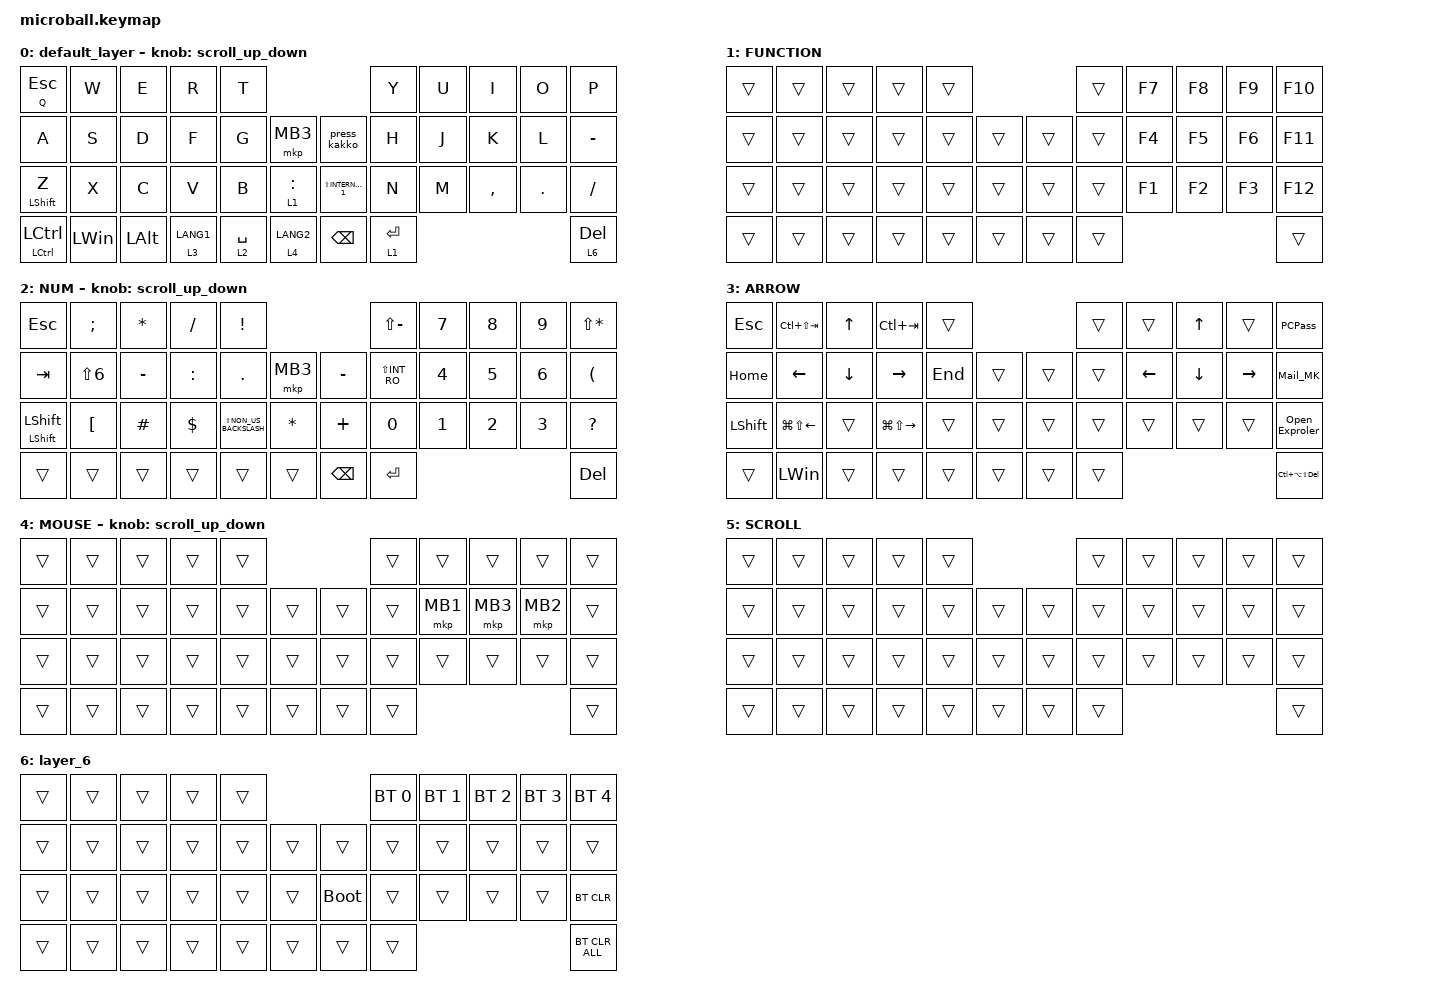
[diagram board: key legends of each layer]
#include <behaviors.dtsi>
#include <dt-bindings/zmk/bt.h>
#include <dt-bindings/zmk/keys.h>
#include <dt-bindings/zmk/pointing.h>

#define ZMK_POINTING_DEFAULT_SCRL_VAL 100
#define MOUSE 4
#define SCROLL 5
#define NUM 6

&mt {
    flavor = "balanced";
    quick-tap-ms = <0>;
};

/ {
    combos {
        compatible = "zmk,combos";

        tab {
            bindings = <&kp TAB>;
            key-positions = <11 12>;
        };

        shift_tab {
            bindings = <&kp LANGUAGE_1>;
            key-positions = <12 13>;
        };

        muhennkann {
            bindings = <&to_layer_0 LANGUAGE_2>;
            key-positions = <25 24>;
        };

        double_quotation {
            bindings = <&kp LANGUAGE_1>;
            key-positions = <14 13>;
        };

        eq {
            bindings = <&kp EQUAL>;
            key-positions = <24 25>;
        };

        MOUSE_MODE {
            bindings = <&to 4>;
            key-positions = <19 18>;
        };

        MOUSE_MODE2 {
            bindings = <&to 0>;
            key-positions = <20 19>;
        };

        lang2 {
            bindings = <&kp LANGUAGE_2>;
            key-positions = <26 25>;
        };
    };

    macros {
        to_layer_0: to_layer_0 {
            compatible = "zmk,behavior-macro-one-param";
            #binding-cells = <1>;
            bindings = <&to 0 &macro_param_1to1 &kp MACRO_PLACEHOLDER>;
            label = "TO_LAYER_0";
        };

        press_kakko: press_kakko {
            compatible = "zmk,behavior-macro";
            #binding-cells = <0>;
            bindings = <&kp LS(ASTRK) &kp LEFT_PARENTHESIS>;
            label = "PRESS_KAKKO";
        };

        PCPass: PCPass {
            compatible = "zmk,behavior-macro";
            #binding-cells = <0>;
            bindings = <&kp HASH &kp DOLLAR &kp LS(P) &kp R &kp O &kp F &kp E &kp S &kp S &kp O &kp R &kp N0 &kp N8 &kp N2 &kp N2>;
            label = "PCPASS";
        };

        Mail_MK: Mail_MK {
            compatible = "zmk,behavior-macro";
            #binding-cells = <0>;
            bindings = <&none &kp M &kp I &kp S &kp A &kp W &kp A &kp DOT &kp K &kp O &kp LEFT_BRACKET &kp J &kp C &kp I &kp T &kp Y &kp DOT &kp M &kp A &kp E &kp D &kp A &kp DOT &kp C &kp O &kp DOT &kp J &kp P>;
            label = "MAIL_MK";
        };

        Open_Exproler: Open_Exproler {
            compatible = "zmk,behavior-macro";
            #binding-cells = <0>;
            bindings = <&kp LEFT_WIN &kp E>;
            label = "OPEN_EXPROLER";
        };

        Ctrl_Alt_Del: Ctrl_Alt_Del {
            compatible = "zmk,behavior-macro";
            #binding-cells = <0>;
            bindings = <&none>, <&macro_press>;

            label = "CTRL_ALT_DEL";
        };
    };

    behaviors {
        scroll_up_down: behavior_sensor_rotate_mouse_wheel_up_down {
            compatible = "zmk,behavior-sensor-rotate";
            #sensor-binding-cells = <0>;
            bindings = <&msc SCRL_UP>, <&msc SCRL_DOWN>;

            // 追加: スクロールのタップ時間を設定 (20ms)

            tap-ms = <20>;
        };
    };

    keymap {
        compatible = "zmk,keymap";

        default_layer {
            bindings = <
&mt Q ESCAPE      &kp W         &kp E         &kp R        &kp T                                                  &kp Y        &kp U  &kp I      &kp O    &kp P
&kp A             &kp S         &kp D         &kp F        &kp G        &mkp MB3         &press_kakko             &kp H        &kp J  &kp K      &kp L    &kp MINUS
&mt LEFT_SHIFT Z  &kp X         &kp C         &kp V        &kp B        &lt 1 COLON      &kp LS(INTERNATIONAL_1)  &kp N        &kp M  &kp COMMA  &kp DOT  &kp SLASH
&mt LCTRL LCTRL   &kp LEFT_WIN  &kp LEFT_ALT  &lt 3 LANG1  &lt 2 SPACE  &lt 4 LANG2      &kp BACKSPACE            &lt 1 ENTER                             &lt 6 DELETE
            >;

            sensor-bindings = <&scroll_up_down>;
        };

        FUNCTION {
            bindings = <
&trans  &trans  &trans  &trans  &trans                      &trans  &kp F7  &kp F8  &kp F9  &kp F10
&trans  &trans  &trans  &trans  &trans  &trans      &trans  &trans  &kp F4  &kp F5  &kp F6  &kp F11
&trans  &trans  &trans  &trans  &trans  &trans      &trans  &trans  &kp F1  &kp F2  &kp F3  &kp F12
&trans  &trans  &trans  &trans  &trans  &trans      &trans  &trans                          &trans
            >;
        };

        NUM {
            bindings = <
&kp ESCAPE                 &kp SEMICOLON     &kp ASTERISK  &kp SLASH   &kp EXCLAMATION                                            &kp LS(MINUS)   &kp N7        &kp N8        &kp N9        &kp LS(ASTRK)
&kp TAB                    &kp LS(NUMBER_6)  &kp MINUS     &kp COLON   &kp PERIOD                &mkp MB3          &kp MINUS      &kp LS(INT_RO)  &kp NUMBER_4  &kp N5        &kp NUMBER_6  &kp LEFT_PARENTHESIS
&mt LEFT_SHIFT LEFT_SHIFT  &kp LEFT_BRACKET  &kp HASH      &kp DOLLAR  &kp LS(NON_US_BACKSLASH)  &kp ASTERISK      &kp PLUS       &kp N0          &kp NUMBER_1  &kp NUMBER_2  &kp NUMBER_3  &kp QUESTION
&trans                     &trans            &trans        &trans      &trans                    &trans            &kp BACKSPACE  &kp ENTER                                                 &kp DEL
            >;

            sensor-bindings = <&scroll_up_down>;
        };

        ARROW {
            bindings = <
&kp ESCAPE      &kp LC(LS(TAB))         &kp UP_ARROW    &kp LC(TAB)              &trans                       &trans  &trans          &kp UP_ARROW  &trans           &PCPass
&kp HOME        &kp LEFT_ARROW          &kp DOWN_ARROW  &kp RIGHT_ARROW          &kp END  &trans      &trans  &trans  &kp LEFT_ARROW  &kp DOWN      &kp RIGHT_ARROW  &Mail_MK
&kp LEFT_SHIFT  &kp LG(LS(LEFT_ARROW))  &trans          &kp LG(LS(RIGHT_ARROW))  &trans   &trans      &trans  &trans  &trans          &trans        &trans           &Open_Exproler
&trans          &kp LEFT_WIN            &trans          &trans                   &trans   &trans      &trans  &trans                                                 &kp LC(LA(LS(DEL)))
            >;
        };

        MOUSE {
            bindings = <
&trans  &trans  &trans  &trans  &trans                      &trans  &trans    &trans    &trans    &trans
&trans  &trans  &trans  &trans  &trans  &trans      &trans  &trans  &mkp MB1  &mkp MB3  &mkp MB2  &trans
&trans  &trans  &trans  &trans  &trans  &trans      &trans  &trans  &trans    &trans    &trans    &trans
&trans  &trans  &trans  &trans  &trans  &trans      &trans  &trans                                &trans
            >;

            sensor-bindings = <&scroll_up_down>;
        };

        SCROLL {
            bindings = <
&trans  &trans  &trans  &trans  &trans                      &trans  &trans  &trans  &trans  &trans
&trans  &trans  &trans  &trans  &trans  &trans      &trans  &trans  &trans  &trans  &trans  &trans
&trans  &trans  &trans  &trans  &trans  &trans      &trans  &trans  &trans  &trans  &trans  &trans
&trans  &trans  &trans  &trans  &trans  &trans      &trans  &trans                          &trans
            >;
        };

        layer_6 {
            bindings = <
&trans  &trans  &trans  &trans  &trans                           &bt BT_SEL 0  &bt BT_SEL 1  &bt BT_SEL 2  &bt BT_SEL 3  &bt BT_SEL 4
&trans  &trans  &trans  &trans  &trans  &trans      &trans       &trans        &trans        &trans        &trans        &trans
&trans  &trans  &trans  &trans  &trans  &trans      &bootloader  &trans        &trans        &trans        &trans        &bt BT_CLR
&trans  &trans  &trans  &trans  &trans  &trans      &trans       &trans                                                  &bt BT_CLR_ALL
            >;
        };
    };
};
